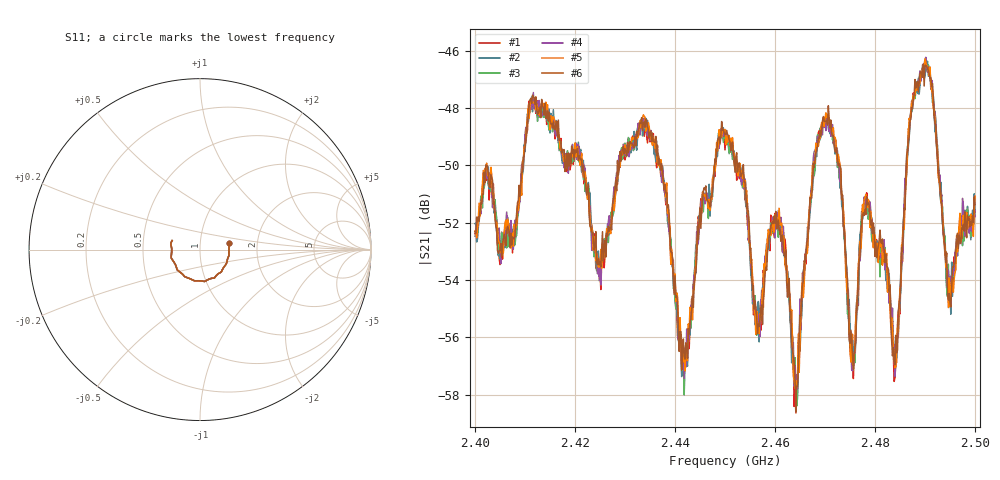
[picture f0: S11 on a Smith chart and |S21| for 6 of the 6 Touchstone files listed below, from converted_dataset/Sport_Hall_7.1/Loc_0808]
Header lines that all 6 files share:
# Hz S RI R 50
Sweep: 2.4 GHz to 2.5 GHz
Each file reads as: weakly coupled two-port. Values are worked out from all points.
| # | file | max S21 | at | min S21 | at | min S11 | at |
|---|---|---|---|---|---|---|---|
| 1 | Lab_139_1Ch1.s2p | -46.46 dB | 2.4903 GHz | -58.6 dB | 2.4642 GHz | -15.6 dB | 2.4928 GHz |
| 2 | Lab_139_5Ch1.s2p | -46.36 dB | 2.4905 GHz | -58.4 dB | 2.4643 GHz | -15.6 dB | 2.4928 GHz |
| 3 | Lab_139_6Ch1.s2p | -46.40 dB | 2.49 GHz | -58.4 dB | 2.4643 GHz | -15.6 dB | 2.4928 GHz |
| 4 | Lab_139_8Ch1.s2p | -46.22 dB | 2.4902 GHz | -57.8 dB | 2.4645 GHz | -15.6 dB | 2.4928 GHz |
| 5 | Lab_139_9Ch1.s2p | -46.28 dB | 2.49 GHz | -57.8 dB | 2.464 GHz | -15.6 dB | 2.4928 GHz |
| 6 | Lab_139_10Ch1.s2p | -46.46 dB | 2.4897 GHz | -58.6 dB | 2.4642 GHz | -15.6 dB | 2.4932 GHz |
